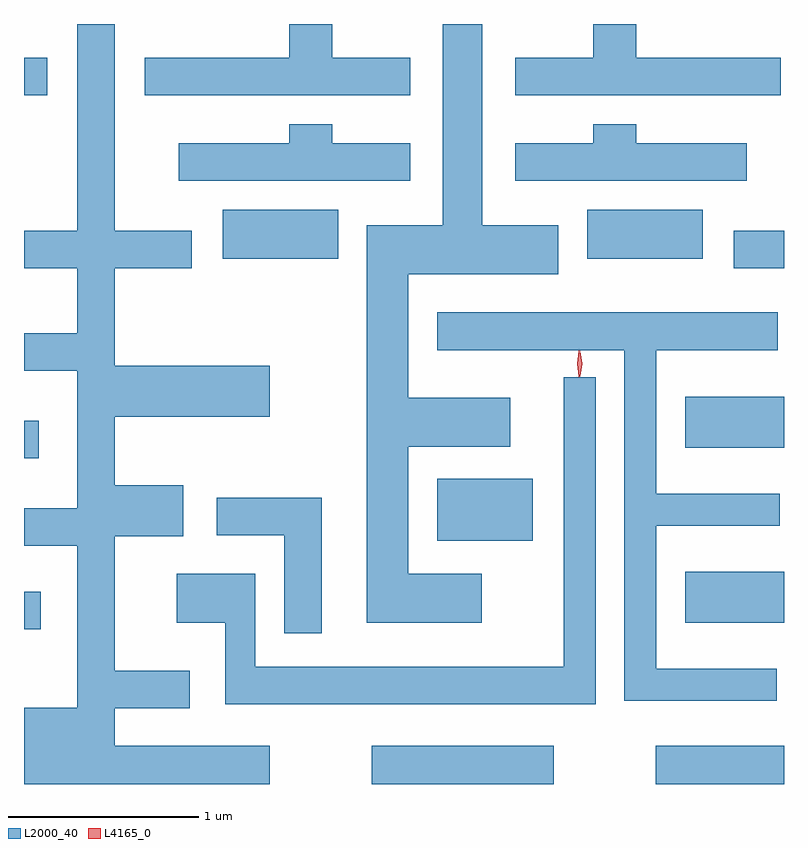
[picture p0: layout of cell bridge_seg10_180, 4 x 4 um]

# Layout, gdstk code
import gdstk
lib = gdstk.Library(unit=1e-6, precision=1e-09)
def R(c, l, rs):  # rectangles x0, y0, x1, y1
    for r in rs: c.add(gdstk.rectangle(r[:2], r[2:], *l))
def P(c, l, *ps):  # polygons
    for p in ps: c.add(gdstk.Polygon(p, *l))
L2000_40 = (2000, 40)
L4165_0 = (4165, 0)

bridge_seg10_180 = lib.new_cell('bridge_seg10_180')
R(bridge_seg10_180, L2000_40, [(1878.701,2140.032,1879.659,2140.234), (1880.196,2140.032,1880.871,2140.234), (1876.871,2140.846,1876.959,2141.044), (1880.351,2140.881,1880.871,2141.149), (1879.046,2141.311,1879.549,2141.639), (1876.871,2141.746,1876.949,2141.944), (1880.351,2141.801,1880.871,2142.069), (1880.606,2142.746,1880.871,2142.944), (1877.916,2142.796,1878.524,2143.054), (1879.836,2142.796,1880.444,2143.054), (1876.871,2143.656,1876.994,2143.854)])
P(bridge_seg10_180, L2000_40, [(1879.279,2141.139),(1878.894,2141.139),(1878.894,2141.806),(1879.429,2141.806),(1879.429,2142.064),(1878.894,2142.064),(1878.894,2142.716),(1879.684,2142.716),(1879.684,2142.974),(1879.284,2142.974),(1879.284,2144.032),(1879.076,2144.032),(1879.076,2142.974),(1878.676,2142.974),(1878.676,2140.881),(1879.279,2140.881)],
  [(1878.904,2143.854),(1878.494,2143.854),(1878.494,2144.032),(1878.266,2144.032),(1878.266,2143.854),(1877.506,2143.854),(1877.506,2143.656),(1878.904,2143.656)],
  [(1878.164,2140.234),(1877.349,2140.234),(1877.349,2140.431),(1877.744,2140.431),(1877.744,2140.629),(1877.349,2140.629),(1877.349,2141.336),(1877.709,2141.336),(1877.709,2141.604),(1877.349,2141.604),(1877.349,2141.966),(1878.164,2141.966),(1878.164,2142.234),(1877.349,2142.234),(1877.349,2142.746),(1877.754,2142.746),(1877.754,2142.944),(1877.349,2142.944),(1877.349,2144.032),(1877.151,2144.032),(1877.151,2142.944),(1876.871,2142.944),(1876.871,2142.746),(1877.151,2142.746),(1877.151,2142.404),(1876.871,2142.404),(1876.871,2142.206),(1877.151,2142.206),(1877.151,2141.484),(1876.871,2141.484),(1876.871,2141.286),(1877.151,2141.286),(1877.151,2140.434),(1876.871,2140.434),(1876.871,2140.032),(1878.164,2140.032)],
  [(1880.854,2143.854),(1880.094,2143.854),(1880.094,2144.032),(1879.866,2144.032),(1879.866,2143.854),(1879.456,2143.854),(1879.456,2143.656),(1880.854,2143.656)],
  [(1878.904,2143.404),(1878.494,2143.404),(1878.494,2143.504),(1878.266,2143.504),(1878.266,2143.404),(1877.686,2143.404),(1877.686,2143.206),(1878.904,2143.206)],
  [(1880.674,2143.404),(1880.094,2143.404),(1880.094,2143.504),(1879.866,2143.504),(1879.866,2143.404),(1879.456,2143.404),(1879.456,2143.206),(1880.674,2143.206)],
  [(1880.833,2140.639),(1880.199,2140.639),(1880.199,2141.391),(1880.848,2141.391),(1880.848,2141.559),(1880.199,2141.559),(1880.199,2142.316),(1880.839,2142.316),(1880.839,2142.514),(1879.046,2142.514),(1879.046,2142.316),(1880.031,2142.316),(1880.031,2140.471),(1880.833,2140.471)],
  [(1879.879,2142.173),(1879.711,2142.173),(1879.711,2140.649),(1878.089,2140.649),(1878.089,2141.139),(1877.676,2141.139),(1877.676,2140.881),(1877.931,2140.881),(1877.931,2140.451),(1879.879,2140.451)],
  [(1878.439,2141.539),(1877.886,2141.539),(1877.886,2141.341),(1878.241,2141.341),(1878.241,2140.826),(1878.439,2140.826)])
P(bridge_seg10_180, L4165_0, [(1879.797,2142.178),(1879.788,2142.244),(1879.798,2142.31),(1879.798,2142.311),(1879.798,2142.31),(1879.808,2142.244),(1879.798,2142.178),(1879.798,2142.178)],
  [(1879.792,2142.174),(1879.792,2142.175),(1879.782,2142.244),(1879.792,2142.313),(1879.792,2142.314),(1879.793,2142.313),(1879.802,2142.244),(1879.793,2142.175)])

lib.write_gds('bridge_seg10_180.gds')
